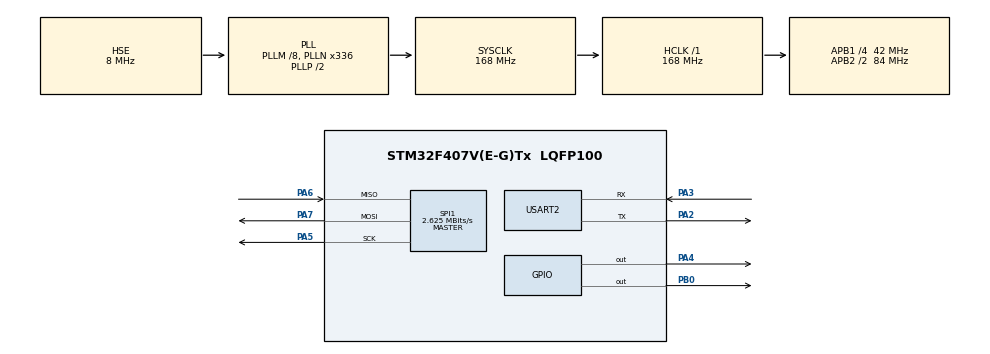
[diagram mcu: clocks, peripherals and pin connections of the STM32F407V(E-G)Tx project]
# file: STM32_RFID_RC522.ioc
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Mcu.Family=STM32F4
Mcu.Name=STM32F407V(E-G)Tx
Mcu.Package=LQFP100
NVIC.PriorityGroup=NVIC_PRIORITYGROUP_0
PA13.Mode=Serial_Wire
PA13.Signal=SYS_JTMS-SWDIO
PA14.Mode=Serial_Wire
PA14.Signal=SYS_JTCK-SWCLK
PA2.Mode=Asynchronous
PA2.Signal=USART2_TX
PA3.Mode=Asynchronous
PA3.Signal=USART2_RX
PA4.Signal=GPIO_Output
PA5.Mode=Full_Duplex_Master
PA5.Signal=SPI1_SCK
PA6.Mode=Full_Duplex_Master
PA6.Signal=SPI1_MISO
PA7.Mode=Full_Duplex_Master
PA7.Signal=SPI1_MOSI
PB0.Signal=GPIO_Output
PH0-OSC_IN.Mode=HSE-External-Oscillator
PH0-OSC_IN.Signal=RCC_OSC_IN
PH1-OSC_OUT.Mode=HSE-External-Oscillator
PH1-OSC_OUT.Signal=RCC_OSC_OUT
ProjectManager.HeapSize=0x200
ProjectManager.StackSize=0x400
ProjectManager.TargetToolchain=STM32CubeIDE
RCC.48MHZClocksFreq_Value=48000000
RCC.AHBFreq_Value=168000000
RCC.APB1CLKDivider=RCC_HCLK_DIV4
RCC.APB1Freq_Value=42000000
RCC.APB1TimFreq_Value=84000000
RCC.APB2CLKDivider=RCC_HCLK_DIV2
RCC.APB2Freq_Value=84000000
RCC.APB2TimFreq_Value=168000000
RCC.CortexFreq_Value=168000000
RCC.HCLKFreq_Value=168000000
RCC.HSE_VALUE=8000000
RCC.HSI_VALUE=16000000
RCC.PLLM=8
RCC.PLLN=336
RCC.PLLQ=7
RCC.PLLSourceVirtual=RCC_PLLSOURCE_HSE
RCC.SYSCLKFreq_VALUE=168000000
RCC.SYSCLKSource=RCC_SYSCLKSOURCE_PLLCLK
RCC.VCOOutputFreq_Value=336000000
SPI1.BaudRatePrescaler=SPI_BAUDRATEPRESCALER_32
SPI1.CalculateBaudRate=2.625 MBits/s
SPI1.Direction=SPI_DIRECTION_2LINES
SPI1.Mode=SPI_MODE_MASTER
SPI1.VirtualType=VM_MASTER
USART2.VirtualMode=VM_ASYNC
board=STM32F407G-DISC1

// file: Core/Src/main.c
/* USER CODE BEGIN Header */
/**
  ******************************************************************************
  * @file           : main.c
  * @brief          : Main program body
  ******************************************************************************
  * @attention
  *
  * Copyright (c) 2025 STMicroelectronics.
  * All rights reserved.
  *
  * This software is licensed under terms that can be found in the LICENSE file
  * in the root directory of this software component.
  * If no LICENSE file comes with this software, it is provided AS-IS.
  *
  ******************************************************************************
  */
/* USER CODE END Header */
#include "main.h"

SPI_HandleTypeDef hspi1;

UART_HandleTypeDef huart2;

void SystemClock_Config(void);
static void MX_GPIO_Init(void);
static void MX_SPI1_Init(void);
static void MX_USART2_UART_Init(void);

/* USER CODE BEGIN 0 */

#include "RC522.h"
#include "string.h"

uint8_t status;
uint8_t str[16];
uint8_t sNum[5];
char *msg1 = "Reading From Card\r\n";
char *msg2 = "Reading From Tag\r\n";
char *msg3 = "Place card to read\r\n";

uint8_t my_card[] 	= {0x53, 0xc1, 0x84, 0x11, 0x07};
uint8_t my_tag[]  	= {0xd3, 0x0c, 0x32, 0xf8, 0x15};

int __io_putchar(int ch)
{
    HAL_UART_Transmit(&huart2, (uint8_t*)&ch, 1, HAL_MAX_DELAY);
    return ch;
}

/* USER CODE END 0 */

int main(void)
{

  /* MCU Configuration--------------------------------------------------------*/

  /* Reset of all peripherals, Initializes the Flash interface and the Systick. */
  HAL_Init();

  /* Configure the system clock */
  SystemClock_Config();

  /* Initialize all configured peripherals */
  MX_GPIO_Init();
  MX_SPI1_Init();
  MX_USART2_UART_Init();
  /* USER CODE BEGIN 2 */

  MFRC522_Init();
  printf("The Program is starting...\n\n");
  HAL_Delay(200);
  /* USER CODE END 2 */

  /* Infinite loop */
  while (1)
  {

    /* USER CODE BEGIN 3 */
	status = MFRC522_Request(PICC_REQIDL, str);
	status = MFRC522_Anticoll(str);
	memcpy(sNum, str, 5);
	HAL_Delay(500);
	if((str[0]==my_card[0]) && (str[1]==my_card[1]) && (str[2]==my_card[2]) && (str[3]==my_card[3]) && (str[4]==my_card[4]) ) //CARD
	{
		printf("%s\n", msg1);
	}
	if((str[0]==my_tag[0]) && (str[1]==my_tag[1]) && (str[2]==my_tag[2]) && (str[3]==my_tag[3]) && (str[4]==my_tag[4]) ) //TAG
	{
		printf("%s\n", msg2);
	}
  }
  /* USER CODE END 3 */
}

void SystemClock_Config(void)
{
  RCC_OscInitTypeDef RCC_OscInitStruct = {0};
  RCC_ClkInitTypeDef RCC_ClkInitStruct = {0};

  /** Configure the main internal regulator output voltage
  */
  __HAL_RCC_PWR_CLK_ENABLE();
  __HAL_PWR_VOLTAGESCALING_CONFIG(PWR_REGULATOR_VOLTAGE_SCALE1);

  /** Initializes the RCC Oscillators according to the specified parameters
  * in the RCC_OscInitTypeDef structure.
  */
  RCC_OscInitStruct.OscillatorType = RCC_OSCILLATORTYPE_HSE;
  RCC_OscInitStruct.HSEState = RCC_HSE_ON;
  RCC_OscInitStruct.PLL.PLLState = RCC_PLL_ON;
  RCC_OscInitStruct.PLL.PLLSource = RCC_PLLSOURCE_HSE;
  RCC_OscInitStruct.PLL.PLLM = 8;
  RCC_OscInitStruct.PLL.PLLN = 336;
  RCC_OscInitStruct.PLL.PLLP = RCC_PLLP_DIV2;
  RCC_OscInitStruct.PLL.PLLQ = 7;
  if (HAL_RCC_OscConfig(&RCC_OscInitStruct) != HAL_OK)
  {
    Error_Handler();
  }

  /** Initializes the CPU, AHB and APB buses clocks
  */
  RCC_ClkInitStruct.ClockType = RCC_CLOCKTYPE_HCLK|RCC_CLOCKTYPE_SYSCLK
                              |RCC_CLOCKTYPE_PCLK1|RCC_CLOCKTYPE_PCLK2;
  RCC_ClkInitStruct.SYSCLKSource = RCC_SYSCLKSOURCE_PLLCLK;
  RCC_ClkInitStruct.AHBCLKDivider = RCC_SYSCLK_DIV1;
  RCC_ClkInitStruct.APB1CLKDivider = RCC_HCLK_DIV4;
  RCC_ClkInitStruct.APB2CLKDivider = RCC_HCLK_DIV2;

  if (HAL_RCC_ClockConfig(&RCC_ClkInitStruct, FLASH_LATENCY_5) != HAL_OK)
  {
    Error_Handler();
  }
}

static void MX_SPI1_Init(void)
{

  /* SPI1 parameter configuration*/
  hspi1.Instance = SPI1;
  hspi1.Init.Mode = SPI_MODE_MASTER;
  hspi1.Init.Direction = SPI_DIRECTION_2LINES;
  hspi1.Init.DataSize = SPI_DATASIZE_8BIT;
  hspi1.Init.CLKPolarity = SPI_POLARITY_LOW;
  hspi1.Init.CLKPhase = SPI_PHASE_1EDGE;
  hspi1.Init.NSS = SPI_NSS_SOFT;
  hspi1.Init.BaudRatePrescaler = SPI_BAUDRATEPRESCALER_32;
  hspi1.Init.FirstBit = SPI_FIRSTBIT_MSB;
  hspi1.Init.TIMode = SPI_TIMODE_DISABLE;
  hspi1.Init.CRCCalculation = SPI_CRCCALCULATION_DISABLE;
  hspi1.Init.CRCPolynomial = 10;
  if (HAL_SPI_Init(&hspi1) != HAL_OK)
  {
    Error_Handler();
  }

}

static void MX_USART2_UART_Init(void)
{

  huart2.Instance = USART2;
  huart2.Init.BaudRate = 115200;
  huart2.Init.WordLength = UART_WORDLENGTH_8B;
  huart2.Init.StopBits = UART_STOPBITS_1;
  huart2.Init.Parity = UART_PARITY_NONE;
  huart2.Init.Mode = UART_MODE_TX_RX;
  huart2.Init.HwFlowCtl = UART_HWCONTROL_NONE;
  huart2.Init.OverSampling = UART_OVERSAMPLING_16;
  if (HAL_UART_Init(&huart2) != HAL_OK)
  {
    Error_Handler();
  }

}

static void MX_GPIO_Init(void)
{
  GPIO_InitTypeDef GPIO_InitStruct = {0};

  /* GPIO Ports Clock Enable */
  __HAL_RCC_GPIOH_CLK_ENABLE();
  __HAL_RCC_GPIOA_CLK_ENABLE();
  __HAL_RCC_GPIOB_CLK_ENABLE();

  /*Configure GPIO pin Output Level */
  HAL_GPIO_WritePin(GPIOA, GPIO_PIN_4, GPIO_PIN_RESET);

  /*Configure GPIO pin Output Level */
  HAL_GPIO_WritePin(GPIOB, GPIO_PIN_0, GPIO_PIN_RESET);

  /*Configure GPIO pin : PA4 */
  GPIO_InitStruct.Pin = GPIO_PIN_4;
  GPIO_InitStruct.Mode = GPIO_MODE_OUTPUT_PP;
  GPIO_InitStruct.Pull = GPIO_NOPULL;
  GPIO_InitStruct.Speed = GPIO_SPEED_FREQ_LOW;
  HAL_GPIO_Init(GPIOA, &GPIO_InitStruct);

  /*Configure GPIO pin : PB0 */
  GPIO_InitStruct.Pin = GPIO_PIN_0;
  GPIO_InitStruct.Mode = GPIO_MODE_OUTPUT_PP;
  GPIO_InitStruct.Pull = GPIO_NOPULL;
  GPIO_InitStruct.Speed = GPIO_SPEED_FREQ_LOW;
  HAL_GPIO_Init(GPIOB, &GPIO_InitStruct);

}

void Error_Handler(void)
{
  __disable_irq();
  while (1)
  {
  }
}
